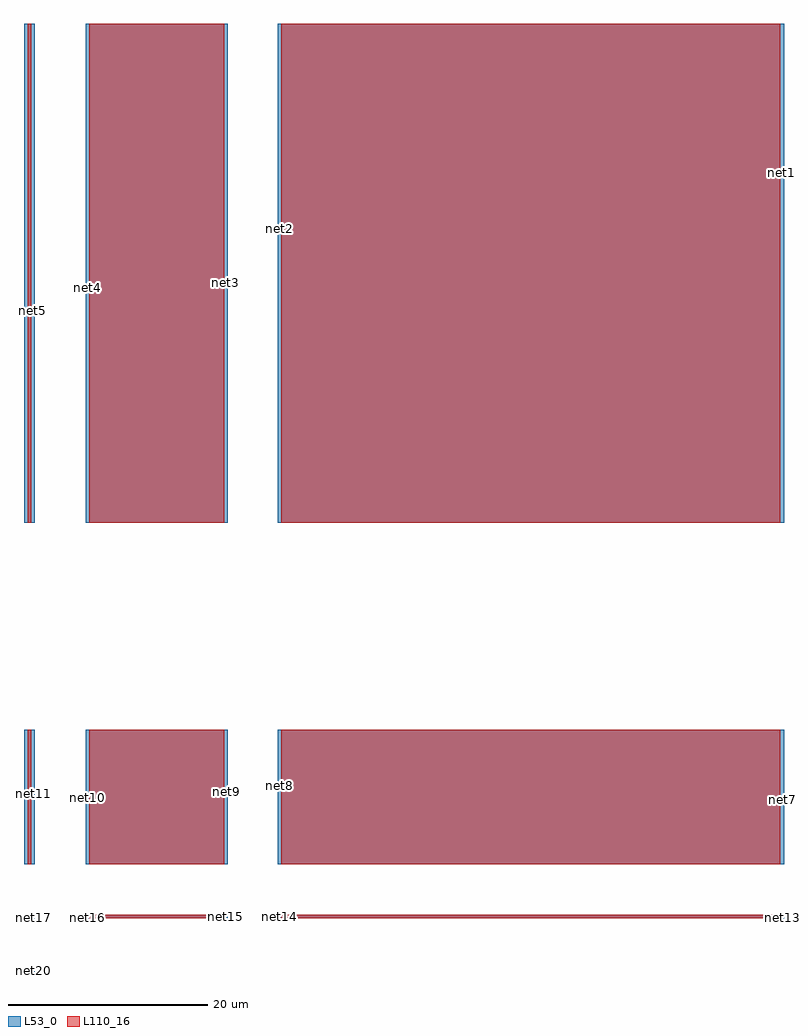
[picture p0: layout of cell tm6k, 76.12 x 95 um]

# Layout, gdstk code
import gdstk
lib = gdstk.Library(unit=1e-6, precision=1e-09)
def R(c, l, rs):  # rectangles x0, y0, x1, y1
    for r in rs: c.add(gdstk.rectangle(r[:2], r[2:], *l))
L53_0 = (53, 0)
L110_16 = (110, 16)

tm6k_cdns_630980396730 = lib.new_cell('tm6k_CDNS_630980396730')
R(tm6k_cdns_630980396730, L53_0, [(0,0,0.36,0.36), (0,0,1.08,0.36), (0.72,0,1.08,0.36)])
R(tm6k_cdns_630980396730, L110_16, [(0.36,0,0.72,0.36)])

tm6k_cdns_630980396731 = lib.new_cell('tm6k_CDNS_630980396731')
R(tm6k_cdns_630980396731, L53_0, [(0,0,0.36,0.36), (0,0,50.72,0.36), (50.36,0,50.72,0.36)])
R(tm6k_cdns_630980396731, L110_16, [(0.36,0,50.36,0.36)])

tm6k_cdns_630980396732 = lib.new_cell('tm6k_CDNS_630980396732')
R(tm6k_cdns_630980396732, L53_0, [(0,0,0.36,0.36), (0,0,1.08,0.36), (0.72,0,1.08,0.36)])
R(tm6k_cdns_630980396732, L110_16, [(0.36,0,0.72,0.36)])

tm6k_cdns_630980396733 = lib.new_cell('tm6k_CDNS_630980396733')
R(tm6k_cdns_630980396733, L53_0, [(0,0,0.36,0.36), (0,0,14.22,0.36), (13.86,0,14.22,0.36)])
R(tm6k_cdns_630980396733, L110_16, [(0.36,0,13.86,0.36)])

tm6k_cdns_630980396734 = lib.new_cell('tm6k_CDNS_630980396734')
R(tm6k_cdns_630980396734, L53_0, [(0,0,0.36,13.5), (0,0,50.72,13.5), (50.36,0,50.72,13.5)])
R(tm6k_cdns_630980396734, L110_16, [(0.36,0,50.36,13.5)])

tm6k_cdns_630980396735 = lib.new_cell('tm6k_CDNS_630980396735')
R(tm6k_cdns_630980396735, L53_0, [(0,0,0.36,13.5), (0,0,1.08,13.5), (0.72,0,1.08,13.5)])
R(tm6k_cdns_630980396735, L110_16, [(0.36,0,0.72,13.5)])

tm6k_cdns_630980396736 = lib.new_cell('tm6k_CDNS_630980396736')
R(tm6k_cdns_630980396736, L53_0, [(0,0,0.36,13.5), (0,0,14.22,13.5), (13.86,0,14.22,13.5)])
R(tm6k_cdns_630980396736, L110_16, [(0.36,0,13.86,13.5)])

tm6k_cdns_630980396737 = lib.new_cell('tm6k_CDNS_630980396737')
R(tm6k_cdns_630980396737, L53_0, [(0,0,0.36,50), (0,0,1.08,50), (0.72,0,1.08,50)])
R(tm6k_cdns_630980396737, L110_16, [(0.36,0,0.72,50)])

tm6k_cdns_630980396738 = lib.new_cell('tm6k_CDNS_630980396738')
R(tm6k_cdns_630980396738, L53_0, [(0,0,0.36,50), (0,0,14.22,50), (13.86,0,14.22,50)])
R(tm6k_cdns_630980396738, L110_16, [(0.36,0,13.86,50)])

tm6k_cdns_630980396739 = lib.new_cell('tm6k_CDNS_630980396739')
R(tm6k_cdns_630980396739, L53_0, [(0,0,0.36,50), (0,0,50.72,50), (50.36,0,50.72,50)])
R(tm6k_cdns_630980396739, L110_16, [(0.36,0,50.36,50)])

tm6k = lib.new_cell('tm6k')
tm6k.add(gdstk.Reference(tm6k_cdns_630980396730, (0,0)))
tm6k.add(gdstk.Reference(tm6k_cdns_630980396731, (25.4,5.4)))
tm6k.add(gdstk.Reference(tm6k_cdns_630980396732, (0,5.4)))
tm6k.add(gdstk.Reference(tm6k_cdns_630980396733, (6.2,5.4)))
tm6k.add(gdstk.Reference(tm6k_cdns_630980396734, (25.4,10.8)))
tm6k.add(gdstk.Reference(tm6k_cdns_630980396735, (0,10.8)))
tm6k.add(gdstk.Reference(tm6k_cdns_630980396736, (6.2,10.8)))
tm6k.add(gdstk.Reference(tm6k_cdns_630980396737, (0,45)))
tm6k.add(gdstk.Reference(tm6k_cdns_630980396738, (6.2,45)))
tm6k.add(gdstk.Reference(tm6k_cdns_630980396739, (25.4,45)))
tm6k.add(gdstk.Label('net20', (0.915,0.178), layer=53, texttype=10))
tm6k.add(gdstk.Label('net19', (0.165,0.179), layer=53, texttype=10))
tm6k.add(gdstk.Label('net1', (75.899,80.151), layer=53, texttype=10))
tm6k.add(gdstk.Label('net2', (25.553,74.485), layer=53, texttype=10))
tm6k.add(gdstk.Label('net3', (20.227,69.067), layer=53, texttype=10))
tm6k.add(gdstk.Label('net4', (6.324,68.603), layer=53, texttype=10))
tm6k.add(gdstk.Label('net5', (0.888,66.329), layer=53, texttype=10))
tm6k.add(gdstk.Label('net6', (0.178,65.583), layer=53, texttype=10))
tm6k.add(gdstk.Label('net7', (75.966,17.28), layer=53, texttype=10))
tm6k.add(gdstk.Label('net8', (25.553,18.743), layer=53, texttype=10))
tm6k.add(gdstk.Label('net9', (20.242,18.073), layer=53, texttype=10))
tm6k.add(gdstk.Label('net10', (6.359,17.491), layer=53, texttype=10))
tm6k.add(gdstk.Label('net11', (0.913,17.909), layer=53, texttype=10))
tm6k.add(gdstk.Label('net12', (0.149,17.984), layer=53, texttype=10))
tm6k.add(gdstk.Label('net13', (75.929,5.521), layer=53, texttype=10))
tm6k.add(gdstk.Label('net14', (25.553,5.537), layer=53, texttype=10))
tm6k.add(gdstk.Label('net15', (20.221,5.536), layer=53, texttype=10))
tm6k.add(gdstk.Label('net16', (6.333,5.528), layer=53, texttype=10))
tm6k.add(gdstk.Label('net17', (0.916,5.506), layer=53, texttype=10))
tm6k.add(gdstk.Label('net18', (0.172,5.535), layer=53, texttype=10))

lib.write_gds('tm6k.gds')
